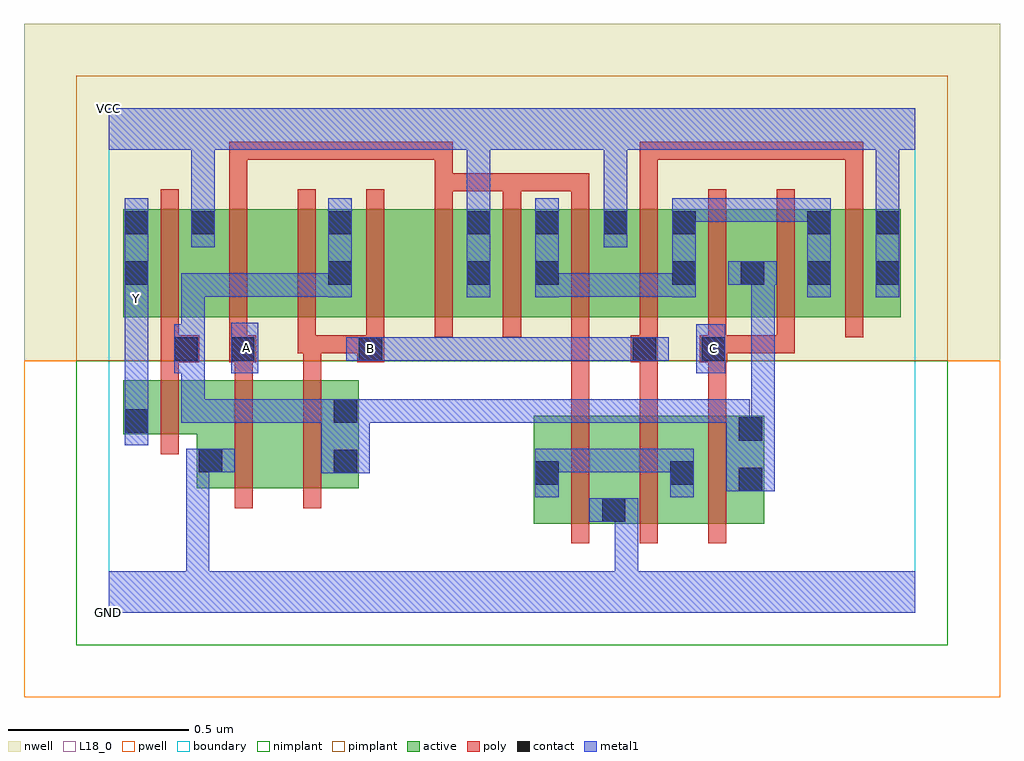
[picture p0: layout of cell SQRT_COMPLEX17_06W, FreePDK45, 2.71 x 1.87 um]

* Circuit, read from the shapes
.subckt SQRT_COMPLEX17_06W A B C GND VCC Y
M1 GND n1 Y VSUBS nfet w=0.15u l=0.05u
M2 n2 A GND VSUBS nfet w=0.3u l=0.05u
M3 n1 B n2 VSUBS nfet w=0.3u l=0.05u
M4 GND A n3 VSUBS nfet w=0.3u l=0.05u
M5 n3 B GND VSUBS nfet w=0.3u l=0.05u
M6 n1 C n3 VSUBS nfet w=0.3u l=0.05u
M7 VCC n1 Y n4 pfet w=0.3u l=0.05u
M8 n5 A VCC n4 pfet w=0.3u l=0.05u
M9 n1 B n5 n4 pfet w=0.3u l=0.05u
M10 n6 B n1 n4 pfet w=0.3u l=0.05u
M11 VCC A n6 n4 pfet w=0.3u l=0.05u
M12 n7 A VCC n4 pfet w=0.3u l=0.05u m=2
M13 n7 B VCC n4 pfet w=0.3u l=0.05u m=2
M14 n1 C n7 n4 pfet w=0.3u l=0.05u m=2
.ends

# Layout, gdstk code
import gdstk
lib = gdstk.Library(unit=1e-6, precision=1e-09)
def R(c, l, rs):  # rectangles x0, y0, x1, y1
    for r in rs: c.add(gdstk.rectangle(r[:2], r[2:], *l))
def A(c, l, x, y, w, h, nx, ny, dx, dy):  # array of equal rectangles
    R(c, l, [(x+i*dx, y+j*dy, x+i*dx+w, y+j*dy+h) for i in range(nx) for j in range(ny)])
active = (1, 0)
pwell = (2, 0)
nwell = (3, 0)
nimplant = (4, 0)
pimplant = (5, 0)
poly = (9, 0)
contact = (10, 0)
metal1 = (11, 0)
L18_0 = (18, 0)
boundary = (235, 0)

sqrt_complex17_06w = lib.new_cell('SQRT_COMPLEX17_06W')
A(sqrt_complex17_06w, active, 0.99, 0.82, 0.265, 0.3, 4, 1, 0.19, 0)
A(sqrt_complex17_06w, active, 0.99, 0.82, 0.075, 0.3, 4, 1, 0.19, 0)
R(sqrt_complex17_06w, active, [(1.18,0.247,1.255,0.547), (1.18,0.247,1.44,0.547), (1.365,0.247,1.63,0.547), (1.365,0.247,1.44,0.392), (1.555,0.247,1.82,0.547), (1.555,0.247,1.63,0.547), (1.745,0.332,1.82,0.547), (0.245,0.345,0.47,0.645), (0.47,0.345,0.695,0.645), (0.62,0.345,0.695,0.645), (0.245,0.385,0.32,0.617), (0.04,0.495,0.32,0.645), (0.04,0.495,0.115,0.645), (0.04,0.82,0.115,1.12), (0.04,0.82,0.3,1.12), (0.225,0.82,0.3,1.12), (0.225,0.82,0.455,1.12), (0.455,0.82,0.68,1.12), (0.605,0.82,0.68,1.12), (0.605,0.82,0.835,1.12), (0.835,0.82,1.065,1.12), (1.75,0.82,2.01,1.12), (1.75,0.82,1.825,1.055), (1.935,0.82,2.2,1.12), (1.935,0.82,2.01,1.12), (2.125,0.82,2.2,1.12)])
R(sqrt_complex17_06w, pwell, [(-0.235,-0.235,2.475,0.7)])
R(sqrt_complex17_06w, nwell, [(-0.235,0.7,2.475,1.635)])
R(sqrt_complex17_06w, nimplant, [(-0.09,-0.09,2.33,0.7)])
R(sqrt_complex17_06w, pimplant, [(-0.09,0.7,2.33,1.49)])
A(sqrt_complex17_06w, poly, 1.285, 0.192, 0.05, 0.41, 3, 1, 0.19, 0)
A(sqrt_complex17_06w, poly, 0.145, 0.72, 0.05, 0.095, 4, 1, 0.19, 0)
A(sqrt_complex17_06w, poly, 1.475, 0.72, 0.05, 0.095, 3, 1, 0.19, 0)
A(sqrt_complex17_06w, poly, 0.145, 0.765, 0.05, 0.41, 11, 1, 0.19, 0)
A(sqrt_complex17_06w, poly, 0.905, 1.125, 0.05, 0.095, 3, 1, 0.19, 0)
R(sqrt_complex17_06w, poly, [(0.35,0.29,0.4,0.7), (0.54,0.29,0.59,0.7), (0.145,0.44,0.195,0.7), (1.285,0.552,1.335,0.647), (1.475,0.552,1.525,0.745), (1.665,0.552,1.715,0.745), (1.285,0.597,1.335,0.647), (1.285,0.597,1.335,0.815), (0.145,0.65,0.195,0.745), (0.35,0.65,0.4,0.745), (0.54,0.65,0.59,0.77), (0.145,0.695,0.252,0.77), (0.335,0.695,0.41,0.77), (0.69,0.695,0.765,0.77), (1.45,0.695,1.525,0.77), (1.642,0.695,1.717,0.77), (0.525,0.72,0.59,0.77), (0.54,0.72,0.59,0.77), (0.54,0.72,0.59,0.77), (0.54,0.72,0.74,0.77), (1.667,0.72,1.717,0.77), (1.667,0.72,1.717,0.77), (1.667,0.72,1.905,0.77), (1.855,0.72,1.905,0.77), (0.335,1.125,0.385,1.307), (1.475,1.125,1.525,1.307), (2.045,1.125,2.095,1.307), (0.905,1.17,1.145,1.22), (0.905,1.17,0.955,1.307), (1.095,1.17,1.145,1.22), (1.095,1.17,1.145,1.22), (1.095,1.17,1.145,1.22), (1.095,1.17,1.335,1.22), (1.285,1.17,1.335,1.22), (1.285,1.17,1.335,1.22), (1.285,1.17,1.335,1.22), (0.335,1.257,0.385,1.307), (0.335,1.257,0.385,1.307), (0.335,1.257,0.385,1.307), (0.335,1.257,0.607,1.307), (0.557,1.257,0.607,1.307), (0.557,1.257,0.822,1.307), (0.772,1.257,0.822,1.307), (0.772,1.257,0.822,1.307), (0.772,1.257,0.822,1.307), (0.772,1.257,0.955,1.307), (0.905,1.257,0.955,1.307), (0.905,1.257,0.955,1.307), (1.475,1.257,1.525,1.307), (1.475,1.257,1.525,1.307), (1.475,1.257,1.525,1.307), (1.475,1.257,1.657,1.307), (1.607,1.257,1.657,1.307), (1.607,1.257,1.657,1.307), (1.607,1.257,1.657,1.307), (1.607,1.257,1.85,1.307), (1.8,1.257,2.095,1.307), (1.8,1.257,1.85,1.307), (1.8,1.257,1.85,1.307), (1.8,1.257,1.85,1.307), (2.045,1.257,2.095,1.307)])
A(sqrt_complex17_06w, contact, 0.995, 1.05, 0.065, 0.065, 4, 1, 0.19, 0)
R(sqrt_complex17_06w, contact, [(1.37,0.252,1.435,0.317), (1.75,0.337,1.815,0.402), (1.185,0.355,1.25,0.42), (1.56,0.355,1.625,0.42), (0.625,0.387,0.69,0.452), (0.25,0.39,0.315,0.455), (1.75,0.477,1.815,0.542), (0.045,0.5,0.11,0.565), (0.625,0.527,0.69,0.592), (0.182,0.7,0.247,0.765), (0.34,0.7,0.405,0.765), (0.695,0.7,0.76,0.765), (1.455,0.7,1.52,0.765), (1.647,0.7,1.712,0.765), (0.045,0.91,0.11,0.975), (0.61,0.91,0.675,0.975), (0.995,0.91,1.06,0.975), (1.185,0.91,1.25,0.975), (1.565,0.91,1.63,0.975), (1.755,0.91,1.82,0.975), (1.94,0.91,2.005,0.975), (2.13,0.91,2.195,0.975), (0.045,1.05,0.11,1.115), (0.23,1.05,0.295,1.115), (0.61,1.05,0.675,1.115), (1.94,1.05,2.005,1.115), (2.13,1.05,2.195,1.115)])
R(sqrt_complex17_06w, metal1, [(0,0,2.24,0.115), (0.215,0.05,0.28,0.115), (0.215,0.05,0.28,0.115), (0.215,0.05,0.28,0.115), (0.215,0.05,0.28,0.115), (0.215,0.05,0.28,0.455), (1.405,0.05,1.47,0.115), (1.405,0.05,1.47,0.115), (1.405,0.05,1.47,0.317), (1.335,0.252,1.47,0.317), (1.405,0.252,1.47,0.317), (1.405,0.252,1.47,0.317), (1.185,0.32,1.25,0.455), (1.56,0.32,1.625,0.455), (1.715,0.337,1.85,0.542), (0.59,0.387,0.725,0.592), (0.215,0.39,0.35,0.455), (1.185,0.39,1.25,0.455), (1.185,0.39,1.25,0.455), (1.185,0.39,1.387,0.455), (1.322,0.39,1.387,0.455), (1.322,0.39,1.387,0.455), (1.322,0.39,1.387,0.455), (1.322,0.39,1.625,0.455), (0.045,0.465,0.11,0.6), (1.715,0.477,1.78,0.542), (1.715,0.477,1.78,0.592), (1.785,0.477,1.85,0.975), (0.202,0.527,0.267,0.592), (0.202,0.527,0.385,0.592), (0.202,0.527,0.267,0.8), (0.32,0.527,0.385,0.592), (0.32,0.527,0.517,0.592), (0.452,0.527,0.517,0.592), (0.452,0.527,0.542,0.592), (0.477,0.527,0.542,0.592), (0.477,0.527,0.655,0.592), (0.66,0.527,0.725,0.592), (0.66,0.527,0.725,0.592), (0.66,0.527,0.922,0.592), (0.857,0.527,0.922,0.592), (0.857,0.527,0.932,0.592), (0.867,0.527,0.932,0.592), (0.867,0.527,1.112,0.592), (1.047,0.527,1.112,0.592), (1.047,0.527,1.112,0.592), (1.047,0.527,1.112,0.592), (1.047,0.527,1.25,0.592), (1.185,0.527,1.25,0.592), (1.185,0.527,1.25,0.592), (1.185,0.527,1.25,0.592), (1.185,0.527,1.387,0.592), (1.322,0.527,1.387,0.592), (1.322,0.527,1.387,0.592), (1.322,0.527,1.387,0.592), (1.322,0.527,1.642,0.592), (1.577,0.527,1.642,0.592), (1.577,0.527,1.78,0.592), (0.045,0.535,0.11,0.87), (0.182,0.665,0.247,0.8), (0.34,0.665,0.415,0.805), (1.632,0.665,1.712,0.8), (0.66,0.7,0.795,0.765), (0.73,0.7,0.862,0.765), (0.797,0.7,0.862,0.765), (0.797,0.7,0.932,0.765), (0.867,0.7,0.932,0.765), (0.867,0.7,1.112,0.765), (1.047,0.7,1.112,0.765), (1.047,0.7,1.112,0.765), (1.047,0.7,1.112,0.765), (1.047,0.7,1.25,0.765), (1.185,0.7,1.25,0.765), (1.185,0.7,1.25,0.765), (1.185,0.7,1.25,0.765), (1.185,0.7,1.485,0.765), (1.42,0.7,1.485,0.765), (1.42,0.7,1.485,0.765), (1.42,0.7,1.555,0.765), (0.182,0.735,0.267,0.8), (0.202,0.735,0.267,0.8), (0.202,0.735,0.267,0.942), (0.045,0.805,0.11,0.94), (0.045,0.875,0.11,0.94), (0.045,0.875,0.11,1.15), (0.61,0.875,0.675,1.15), (0.995,0.875,1.06,1.15), (1.185,0.875,1.25,1.15), (1.565,0.875,1.63,1.15), (1.94,0.875,2.005,1.15), (2.13,0.875,2.195,1.15), (0.202,0.877,0.267,0.942), (0.202,0.877,0.405,0.942), (0.34,0.877,0.405,0.942), (0.34,0.877,0.405,0.942), (0.34,0.877,0.405,0.942), (0.34,0.877,0.587,0.942), (0.522,0.877,0.587,0.942), (0.522,0.877,0.675,0.942), (1.185,0.877,1.25,0.942), (1.185,0.877,1.25,0.942), (1.185,0.877,1.487,0.942), (1.422,0.877,1.487,0.942), (1.422,0.877,1.487,0.942), (1.422,0.877,1.487,0.942), (1.422,0.877,1.63,0.942), (1.72,0.91,1.855,0.975), (1.785,0.91,1.85,0.975), (1.785,0.91,1.85,0.975), (0.23,1.015,0.295,1.15), (1.375,1.015,1.44,1.15), (0.23,1.085,0.295,1.15), (0.23,1.085,0.295,1.15), (0.23,1.085,0.295,1.35), (0.995,1.085,1.06,1.35), (1.375,1.085,1.44,1.15), (1.375,1.085,1.44,1.15), (1.375,1.085,1.44,1.35), (1.565,1.085,1.63,1.15), (1.565,1.085,1.63,1.15), (1.565,1.085,1.63,1.15), (1.565,1.085,1.63,1.15), (1.565,1.085,1.78,1.15), (1.715,1.085,1.78,1.15), (1.715,1.085,2.005,1.15), (1.94,1.085,2.005,1.15), (1.94,1.085,2.005,1.15), (2.13,1.085,2.195,1.15), (2.13,1.085,2.195,1.15), (2.13,1.085,2.195,1.35), (0,1.285,2.24,1.4), (0.995,1.285,1.06,1.35), (0.995,1.285,1.06,1.35)])
R(sqrt_complex17_06w, L18_0, [(0,0,2.24,0.115), (0.215,0.05,0.28,0.115), (0.215,0.05,0.28,0.115), (0.215,0.05,0.28,0.115), (0.215,0.05,0.28,0.115), (0.215,0.05,0.28,0.455), (1.405,0.05,1.47,0.115), (1.405,0.05,1.47,0.115), (1.405,0.05,1.47,0.317), (1.335,0.252,1.47,0.317), (1.405,0.252,1.47,0.317), (1.405,0.252,1.47,0.317), (0.215,0.39,0.35,0.455), (0.045,0.465,0.11,0.6), (0.045,0.535,0.11,0.87), (0.34,0.665,0.415,0.805), (1.632,0.665,1.712,0.8), (0.66,0.7,0.795,0.765), (0.695,0.7,0.76,0.765), (0.73,0.7,0.862,0.765), (0.797,0.7,0.862,0.765), (0.797,0.7,0.932,0.765), (0.867,0.7,0.932,0.765), (0.867,0.7,1.112,0.765), (1.047,0.7,1.112,0.765), (1.047,0.7,1.112,0.765), (1.047,0.7,1.112,0.765), (1.047,0.7,1.25,0.765), (1.185,0.7,1.25,0.765), (1.185,0.7,1.25,0.765), (1.185,0.7,1.25,0.765), (1.185,0.7,1.485,0.765), (1.42,0.7,1.485,0.765), (1.42,0.7,1.485,0.765), (1.42,0.7,1.555,0.765), (1.647,0.7,1.712,0.765), (0.35,0.705,0.415,0.77), (0.045,0.805,0.11,0.94), (0.045,0.84,0.11,0.905), (0.045,0.875,0.11,1.15), (0.045,0.875,0.11,0.94), (0.995,0.875,1.06,1.15), (2.13,0.875,2.195,1.15), (0.23,1.015,0.295,1.15), (1.375,1.015,1.44,1.15), (0.23,1.085,0.295,1.15), (0.23,1.085,0.295,1.15), (0.23,1.085,0.295,1.35), (0.995,1.085,1.06,1.35), (1.375,1.085,1.44,1.15), (1.375,1.085,1.44,1.15), (1.375,1.085,1.44,1.35), (2.13,1.085,2.195,1.15), (2.13,1.085,2.195,1.15), (2.13,1.085,2.195,1.35), (0,1.285,2.24,1.4), (0.995,1.285,1.06,1.35), (0.995,1.285,1.06,1.35)])
R(sqrt_complex17_06w, boundary, [(0,0,2.24,1.4)])
sqrt_complex17_06w.add(gdstk.Label('A', (0.382,0.737), layer=11, texttype=0))
sqrt_complex17_06w.add(gdstk.Label('B', (0.727,0.732), layer=11, texttype=0))
sqrt_complex17_06w.add(gdstk.Label('C', (1.68,0.732), layer=11, texttype=0))
sqrt_complex17_06w.add(gdstk.Label('Y', (0.077,0.872), layer=11, texttype=0))
sqrt_complex17_06w.add(gdstk.Label('VCC', (0,1.4), layer=11, texttype=0))
sqrt_complex17_06w.add(gdstk.Label('GND', (0,0), layer=11, texttype=0))

lib.write_gds('SQRT_COMPLEX17_06W.gds')
